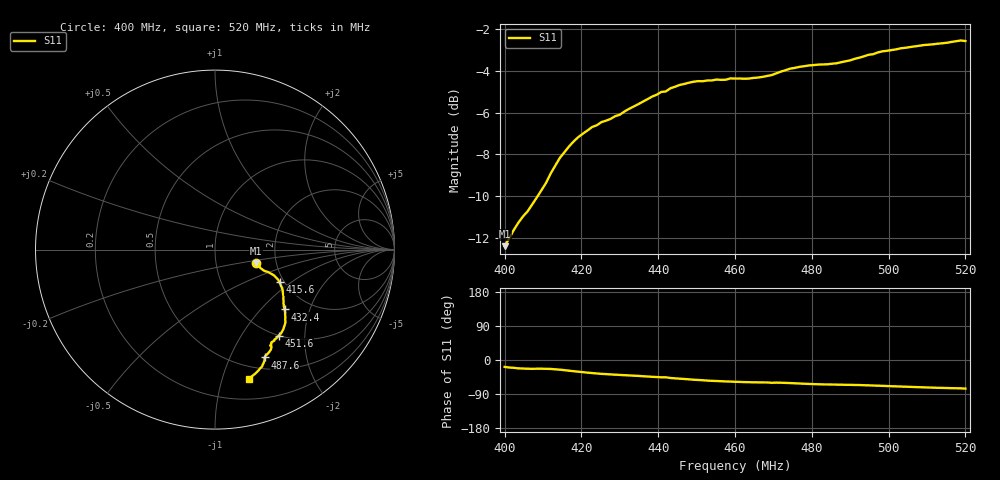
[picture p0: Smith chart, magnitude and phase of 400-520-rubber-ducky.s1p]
# HZ S RI R 50
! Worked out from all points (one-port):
!   101 points, 400 MHz to 520 MHz, reference 50 ohm
!   lowest |S11| = -12.4 dB at 400 MHz (marker M1), VSWR 1.63, Z = 78.3 - j12.5 ohm
!   |S11| at or under -10 dB: start of sweep to 408.6 MHz
!   S11 on the Smith chart (normalised r, x): 400 MHz: 1.57, -0.25; 415.6 MHz: 1.89, -0.82; 432.4 MHz: 1.52, -1.37; 451.6 MHz: 1.00, -1.48; 487.6 MHz: 0.64, -1.36; 520 MHz: 0.38, -1.22
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4e8  0.2279 -0.075
4.036e8  0.2531 -0.1028
4.072e8  0.2775 -0.1195
4.108e8  0.3126 -0.1345
4.144e8  0.3525 -0.1684
4.156e8  0.3597 -0.1819
4.192e8  0.3763 -0.2242
4.228e8  0.3816 -0.2624
4.3e8  0.3831 -0.3142
4.324e8  0.3884 -0.3332
4.408e8  0.3924 -0.4021
4.42e8  0.3931 -0.4037
4.432e8  0.3877 -0.4226
4.456e8  0.3815 -0.4422
4.516e8  0.355 -0.4788
4.6e8  0.325 -0.5101
4.648e8  0.3138 -0.5197
4.684e8  0.3135 -0.5279
4.696e8  0.3073 -0.5349
4.72e8  0.3144 -0.5446
4.756e8  0.3058 -0.5641
4.828e8  0.2825 -0.5898
4.876e8  0.2775 -0.6008
4.9e8  0.2766 -0.6092
4.972e8  0.2644 -0.6469
5.056e8  0.2359 -0.68
5.188e8  0.1955 -0.7205
5.2e8  0.1868 -0.7203
